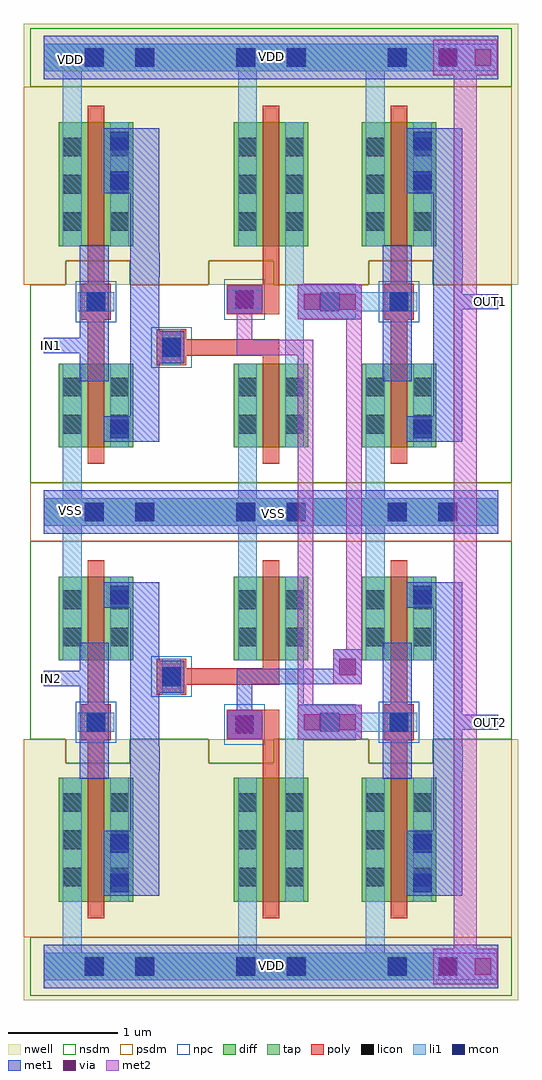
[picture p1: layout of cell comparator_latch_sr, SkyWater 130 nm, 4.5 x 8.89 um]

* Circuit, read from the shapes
.subckt comparator_latch_sr IN1 IN2 OUT1 OUT2 VDD VSS
XM1 INVX1_UPD_4/Y IN2 VSS VSS sky130_fd_pr__nfet_01v8 w=0.76 l=0.15
XM2 INVX1_UPD_5/Y IN1 VSS VSS sky130_fd_pr__nfet_01v8 w=0.76 l=0.15
XM3 INVX1_UPD_2/A INVX1_UPD_4/Y VSS VSS sky130_fd_pr__nfet_01v8 w=0.76 l=0.15
XM4 INVX1_UPD_3/A INVX1_UPD_5/Y VSS VSS sky130_fd_pr__nfet_01v8 w=0.76 l=0.15
XM5 OUT2 INVX1_UPD_2/A VSS VSS sky130_fd_pr__nfet_01v8 w=0.76 l=0.15
XM6 OUT1 INVX1_UPD_3/A VSS VSS sky130_fd_pr__nfet_01v8 w=0.76 l=0.15
XM7 INVX1_UPD_4/Y IN2 VDD VDD sky130_fd_pr__pfet_01v8 w=1.13 l=0.15
XM8 INVX1_UPD_5/Y IN1 VDD VDD sky130_fd_pr__pfet_01v8 w=1.13 l=0.15
XM9 INVX1_UPD_2/A INVX1_UPD_3/A VDD VDD sky130_fd_pr__pfet_01v8 w=1.13 l=0.15
XM10 INVX1_UPD_3/A INVX1_UPD_2/A VDD VDD sky130_fd_pr__pfet_01v8 w=1.13 l=0.15
XM11 OUT2 INVX1_UPD_2/A VDD VDD sky130_fd_pr__pfet_01v8 w=1.13 l=0.15
XM12 OUT1 INVX1_UPD_3/A VDD VDD sky130_fd_pr__pfet_01v8 w=1.13 l=0.15
.ends

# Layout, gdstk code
import gdstk
lib = gdstk.Library(unit=1e-6, precision=1e-09)
def R(c, l, rs):  # rectangles x0, y0, x1, y1
    for r in rs: c.add(gdstk.rectangle(r[:2], r[2:], *l))
def A(c, l, x, y, w, h, nx, ny, dx, dy):  # array of equal rectangles
    R(c, l, [(x+i*dx, y+j*dy, x+i*dx+w, y+j*dy+h) for i in range(nx) for j in range(ny)])
def P(c, l, *ps):  # polygons
    for p in ps: c.add(gdstk.Polygon(p, *l))
nwell = (64, 20)
diff = (65, 20)
tap = (65, 44)
poly = (66, 20)
licon = (66, 44)
li1 = (67, 20)
mcon = (67, 44)
met1 = (68, 20)
via = (68, 44)
met2 = (69, 20)
nsdm = (93, 44)
psdm = (94, 20)
npc = (95, 20)

nfet_01v8_cdns_788522546 = lib.new_cell('nfet_01v8_CDNS_7885225464227')
R(nfet_01v8_cdns_788522546, diff, [(-0.265,0,0,0.76), (0,0,0.15,0.76), (0.15,0,0.415,0.76)])
R(nfet_01v8_cdns_788522546, poly, [(0,-0.15,0.15,-0.095), (0,-0.095,0.15,0), (0,0,0.15,0.76), (0,0.76,0.15,0.855), (0,0.855,0.15,0.91)])
R(nfet_01v8_cdns_788522546, licon, [(-0.225,0.125,-0.055,0.295), (0.205,0.125,0.375,0.295), (-0.225,0.465,-0.055,0.635), (0.205,0.465,0.375,0.635)])
R(nfet_01v8_cdns_788522546, li1, [(-0.225,0,-0.055,0.76), (0.205,0,0.375,0.76)])
R(nfet_01v8_cdns_788522546, nsdm, [(-0.405,-0.13,0.555,0.89)])

invx1_upd = lib.new_cell('INVX1_UPD')
R(invx1_upd, nwell, [(-0.18,2.07,1.56,4.445)])
R(invx1_upd, diff, [(0.135,0.59,0.815,1.35), (0.135,2.42,0.815,3.55)])
R(invx1_upd, poly, [(0.4,0.44,0.55,3.7), (0.34,1.75,0.61,2.08)])
A(invx1_upd, licon, 0.175, 2.56, 0.17, 0.17, 1, 3, 0, 0.34)
A(invx1_upd, licon, 0.605, 2.56, 0.17, 0.17, 1, 3, 0, 0.34)
R(invx1_upd, licon, [(0.375,-0.085,0.545,0.085), (0.835,-0.085,1.005,0.085), (0.175,0.715,0.345,0.885), (0.605,0.715,0.775,0.885), (0.175,1.055,0.345,1.225), (0.605,1.055,0.775,1.225), (0.39,1.83,0.56,2), (0.375,4.055,0.545,4.225), (0.835,4.055,1.005,4.225)])
R(invx1_upd, li1, [(0.605,0.59,0.775,1.35), (0.605,0.59,0.775,0.92), (0.31,1.83,0.64,2), (0.605,2.42,0.775,3.55), (0.605,2.855,0.775,3.545)])
P(invx1_upd, li1, [(1.38,0.125),(0.345,0.125),(0.345,1.35),(0.175,1.35),(0.175,0.125),(0,0.125),(0,-0.125),(1.38,-0.125)],
  [(1.38,4.265),(0,4.265),(0,4.015),(0.175,4.015),(0.175,2.42),(0.345,2.42),(0.345,4.015),(1.38,4.015)])
R(invx1_upd, mcon, [(0.375,-0.085,0.545,0.085), (0.835,-0.085,1.005,0.085), (0.605,0.67,0.775,0.84), (0.39,1.83,0.56,2), (0.605,2.935,0.775,3.105), (0.605,3.295,0.775,3.465), (0.375,4.055,0.545,4.225), (0.835,4.055,1.005,4.225)])
R(invx1_upd, met1, [(0,-0.2,1.38,0.2), (0.545,0.64,0.835,0.87), (0.33,1.19,0.59,2.43), (0.36,1.77,0.59,2.06), (0.79,2.14,1.055,2.36), (0.545,2.905,0.835,3.495), (0,3.94,1.38,4.34)])
R(invx1_upd, nsdm, [(-0.125,3.875,1.505,4.405)])
P(invx1_upd, nsdm, [(1.505,2.07),(0.79,2.07),(0.79,2.29),(0.2,2.29),(0.2,2.07),(-0.125,2.07),(-0.125,0.265),(1.505,0.265)])
R(invx1_upd, psdm, [(-0.125,-0.265,1.505,0.265)])
P(invx1_upd, psdm, [(1.505,3.875),(-0.125,3.875),(-0.125,2.07),(0.2,2.07),(0.2,2.29),(0.79,2.29),(0.79,2.07),(1.505,2.07)])
R(invx1_upd, npc, [(0.29,1.73,0.66,2.1)])
invx1_upd.add(gdstk.FlexPath([(0,0),(1.38,0)], 0.25, ends="flush", simple_path=True, layer=65, datatype=44))  # tap
invx1_upd.add(gdstk.FlexPath([(0,4.14),(1.38,4.14)], 0.25, ends="flush", simple_path=True, layer=65, datatype=44))  # tap
invx1_upd.add(gdstk.FlexPath([(0.46,2.43),(0.46,1.19)], 0.26, ends="flush", simple_path=True, layer=68, datatype=20))  # met1
invx1_upd.add(gdstk.FlexPath([(0.92,0.64),(0.92,3.495)], 0.26, ends="flush", simple_path=True, layer=68, datatype=20))  # met1
invx1_upd.add(gdstk.Label('VDD', (0.695,4.145), layer=68, texttype=5))
invx1_upd.add(gdstk.Label('Y', (0.92,2.25), layer=68, texttype=5))
invx1_upd.add(gdstk.Label('VSS', (0.715,-0.01), layer=68, texttype=5))
invx1_upd.add(gdstk.Label('A', (0.46,1.715), layer=68, texttype=5))

pfet_01v8_cdns_788522546 = lib.new_cell('pfet_01v8_CDNS_7885225464228')
R(pfet_01v8_cdns_788522546, nwell, [(-0.445,-0.18,0.595,1.31)])
R(pfet_01v8_cdns_788522546, diff, [(-0.265,0,0,1.13), (0,0,0.15,1.13), (0.15,0,0.415,1.13)])
R(pfet_01v8_cdns_788522546, poly, [(0,-0.15,0.15,-0.095), (0,-0.095,0.15,0), (0,0,0.15,1.13), (0,1.13,0.15,1.225), (0,1.225,0.15,1.28)])
A(pfet_01v8_cdns_788522546, licon, -0.225, 0.14, 0.17, 0.17, 1, 3, 0, 0.34)
A(pfet_01v8_cdns_788522546, licon, 0.205, 0.14, 0.17, 0.17, 1, 3, 0, 0.34)
R(pfet_01v8_cdns_788522546, li1, [(-0.225,0,-0.055,1.13), (0.205,0,0.375,1.13)])
R(pfet_01v8_cdns_788522546, psdm, [(-0.405,-0.13,0.555,1.26)])

comparator_latch_sr = lib.new_cell('comparator_latch_sr')
R(comparator_latch_sr, nwell, [(1.685,-0.045,2.705,2.33), (1.685,6.47,2.705,8.845)])
R(comparator_latch_sr, poly, [(1.79,2.33,2.12,2.6), (1.155,2.735,1.425,3.065), (1.155,5.735,1.425,6.065), (1.79,6.2,2.12,6.47)])
A(comparator_latch_sr, licon, 1.88, 0.175, 0.17, 0.17, 1, 3, 0, 4.14)
A(comparator_latch_sr, licon, 2.34, 0.175, 0.17, 0.17, 1, 3, 0, 4.14)
R(comparator_latch_sr, licon, [(1.87,2.38,2.04,2.55), (1.205,2.815,1.375,2.985), (1.205,5.815,1.375,5.985), (1.87,6.25,2.04,6.42)])
R(comparator_latch_sr, li1, [(2.495,2.32,2.965,2.65), (1.79,2.38,2.12,2.55), (1.205,2.735,1.375,3.065), (1.205,5.735,1.375,6.065), (2.495,6.15,2.965,6.48), (1.79,6.25,2.12,6.42)])
A(comparator_latch_sr, mcon, 1.88, 0.175, 0.17, 0.17, 1, 3, 0, 4.14)
A(comparator_latch_sr, mcon, 2.34, 0.175, 0.17, 0.17, 1, 3, 0, 4.14)
R(comparator_latch_sr, mcon, [(1.87,2.38,2.04,2.55), (2.645,2.4,2.815,2.57), (1.205,2.815,1.375,2.985), (1.205,5.815,1.375,5.985), (2.645,6.23,2.815,6.4), (1.87,6.25,2.04,6.42)])
A(comparator_latch_sr, met1, 1.505, 0.06, 1.38, 0.4, 1, 3, 0, 4.14)
R(comparator_latch_sr, met1, [(3.675,0.1,4.255,0.42), (2.44,2.325,3.02,2.645), (2.44,2.325,3.02,2.645), (1.795,2.335,2.115,2.595), (1.795,2.335,2.115,2.595), (4.125,2.415,4.265,2.555), (1.175,2.755,1.405,3.045), (0.125,2.815,0.265,2.955), (2.76,2.83,3.02,3.15), (0.3,4.345,0.44,4.485), (1.175,5.755,1.405,6.045), (0.125,5.845,0.265,5.985), (2.44,6.155,3.02,6.475), (2.44,6.155,3.02,6.475), (1.795,6.205,2.115,6.465), (1.795,6.205,2.115,6.465), (4.125,6.245,4.265,6.385), (3.675,8.38,4.255,8.7), (0.3,8.455,0.44,8.595)])
R(comparator_latch_sr, via, [(3.73,0.185,3.88,0.335), (4.05,0.185,4.2,0.335), (1.88,2.39,2.03,2.54), (2.495,2.41,2.645,2.56), (2.815,2.41,2.965,2.56), (2.815,2.915,2.965,3.065), (2.495,6.24,2.645,6.39), (2.815,6.24,2.965,6.39), (1.88,6.26,2.03,6.41), (3.73,8.465,3.88,8.615), (4.05,8.465,4.2,8.615)])
R(comparator_latch_sr, met2, [(3.675,0.1,4.255,0.42), (2.44,2.325,3.02,2.645), (1.795,2.335,2.115,2.595), (2.76,2.83,3.02,3.15), (2.44,6.155,3.02,6.475), (1.795,6.205,2.115,6.465), (3.675,8.38,4.255,8.7)])
R(comparator_latch_sr, nsdm, [(1.38,-0.005,3.01,0.525), (1.6,-0.005,2.73,0.525), (1.63,-0.005,2.76,0.525), (1.63,2.11,2.22,2.33), (1.63,2.33,2.76,4.135), (1.63,4.665,2.76,6.47), (1.63,6.47,2.22,6.69), (1.38,8.275,3.01,8.805), (1.6,8.275,2.73,8.805)])
R(comparator_latch_sr, psdm, [(-0.055,0.525,0,2.33), (1.63,0.525,2.76,2.11), (2.22,2.11,2.76,2.33), (1.38,4.135,3.01,4.665), (-0.055,6.47,0,8.275), (2.22,6.47,2.76,6.69), (1.63,6.69,2.76,8.275)])
R(comparator_latch_sr, npc, [(1.77,2.28,2.14,2.65), (1.105,2.715,1.475,3.085), (1.105,5.715,1.475,6.085), (1.77,6.15,2.14,6.52)])
comparator_latch_sr.add(gdstk.FlexPath([(2.195,6.67),(2.195,6.2)], 0.15, ends="flush", simple_path=True, layer=66, datatype=20))  # poly
comparator_latch_sr.add(gdstk.FlexPath([(2.195,2.13),(2.195,2.6)], 0.15, ends="flush", simple_path=True, layer=66, datatype=20))  # poly
comparator_latch_sr.add(gdstk.FlexPath([(1.29,2.9),(1.29,2.885)], 0.15, ends=(0.075, 0), simple_path=True, layer=66, datatype=20))  # poly
comparator_latch_sr.add(gdstk.FlexPath([(2.195,2.9),(1.29,2.9)], 0.15, ends="extended", simple_path=True, layer=66, datatype=20))  # poly
comparator_latch_sr.add(gdstk.FlexPath([(2.195,5.9),(1.29,5.9)], 0.15, ends=(0.075, 0), simple_path=True, layer=66, datatype=20))  # poly
comparator_latch_sr.add(gdstk.FlexPath([(2.41,6.82),(2.41,6.315)], 0.17, ends=(0, 0.085), simple_path=True, layer=67, datatype=20))  # li1
comparator_latch_sr.add(gdstk.FlexPath([(3.36,6.315),(2.41,6.315)], 0.17, ends=(0, 0.085), simple_path=True, layer=67, datatype=20))  # li1
comparator_latch_sr.add(gdstk.FlexPath([(2.41,1.98),(2.41,2.485)], 0.17, ends=(0, 0.085), simple_path=True, layer=67, datatype=20))  # li1
comparator_latch_sr.add(gdstk.FlexPath([(3.36,2.485),(2.41,2.485)], 0.17, ends=(0, 0.085), simple_path=True, layer=67, datatype=20))  # li1
comparator_latch_sr.add(gdstk.FlexPath([(2.41,6.315),(2.41,5.75)], 0.17, ends=(0.085, 0), simple_path=True, layer=67, datatype=20))  # li1
comparator_latch_sr.add(gdstk.FlexPath([(2.41,2.485),(2.41,3.05)], 0.17, ends=(0.085, 0), simple_path=True, layer=67, datatype=20))  # li1
comparator_latch_sr.add(gdstk.FlexPath([(1.505,0.26),(1.98,0.26)], 0.25, ends=(0, 0.085), simple_path=True, layer=67, datatype=20))  # li1
comparator_latch_sr.add(gdstk.FlexPath([(1.98,0.92),(1.98,0.26)], 0.17, ends=(0, 0.125), simple_path=True, layer=67, datatype=20))  # li1
comparator_latch_sr.add(gdstk.FlexPath([(1.98,3.665),(1.98,4.4)], 0.17, ends=(0, 0.125), simple_path=True, layer=67, datatype=20))  # li1
comparator_latch_sr.add(gdstk.FlexPath([(1.505,4.4),(1.98,4.4)], 0.25, ends=(0, 0.085), simple_path=True, layer=67, datatype=20))  # li1
comparator_latch_sr.add(gdstk.FlexPath([(1.98,5.03),(1.98,4.4)], 0.17, ends=(0, 0.125), simple_path=True, layer=67, datatype=20))  # li1
comparator_latch_sr.add(gdstk.FlexPath([(1.505,8.54),(1.98,8.54)], 0.25, ends=(0, 0.085), simple_path=True, layer=67, datatype=20))  # li1
comparator_latch_sr.add(gdstk.FlexPath([(1.98,7.95),(1.98,8.54)], 0.17, ends=(0, 0.125), simple_path=True, layer=67, datatype=20))  # li1
comparator_latch_sr.add(gdstk.FlexPath([(1.98,0.26),(2.885,0.26)], 0.25, ends=(0.085, 0), simple_path=True, layer=67, datatype=20))  # li1
comparator_latch_sr.add(gdstk.FlexPath([(1.98,4.4),(2.885,4.4)], 0.25, ends=(0.085, 0), simple_path=True, layer=67, datatype=20))  # li1
comparator_latch_sr.add(gdstk.FlexPath([(1.98,8.54),(2.885,8.54)], 0.25, ends=(0.085, 0), simple_path=True, layer=67, datatype=20))  # li1
comparator_latch_sr.add(gdstk.FlexPath([(1.505,0.26),(2.885,0.26)], 0.25, ends="flush", simple_path=True, layer=65, datatype=44))  # tap
comparator_latch_sr.add(gdstk.FlexPath([(1.505,8.54),(2.885,8.54)], 0.25, ends="flush", simple_path=True, layer=65, datatype=44))  # tap
comparator_latch_sr.add(gdstk.FlexPath([(1.505,4.4),(2.885,4.4)], 0.25, ends="flush", simple_path=True, layer=65, datatype=44))  # tap
comparator_latch_sr.add(gdstk.FlexPath([(0.265,2.885),(0.455,2.885)], 0.14, ends="flush", simple_path=True, layer=68, datatype=20))  # met1
comparator_latch_sr.add(gdstk.FlexPath([(0.265,5.915),(0.455,5.915)], 0.14, ends="flush", simple_path=True, layer=68, datatype=20))  # met1
comparator_latch_sr.add(gdstk.FlexPath([(4.125,6.315),(3.805,6.315)], 0.14, ends="flush", simple_path=True, layer=68, datatype=20))  # met1
comparator_latch_sr.add(gdstk.FlexPath([(4.125,2.485),(3.805,2.485)], 0.14, ends="flush", simple_path=True, layer=68, datatype=20))  # met1
comparator_latch_sr.add(gdstk.FlexPath([(1.955,2.9),(1.955,2.465)], 0.14, ends=(0.07, 0), simple_path=True, layer=68, datatype=20))  # met1
comparator_latch_sr.add(gdstk.FlexPath([(2.955,2.9),(1.955,2.9)], 0.14, ends=(0, 0.07), simple_path=True, layer=68, datatype=20))  # met1
comparator_latch_sr.add(gdstk.FlexPath([(1.505,0.26),(2.885,0.26)], 0.4, ends="flush", simple_path=True, layer=68, datatype=20))  # met1
comparator_latch_sr.add(gdstk.FlexPath([(3.94,0.26),(3.965,0.26)], 0.21, ends=(0, 0.105), simple_path=True, layer=69, datatype=20))  # met2
comparator_latch_sr.add(gdstk.FlexPath([(3.965,0.26),(3.965,8.54)], 0.21, ends=(0.105, 0.16), simple_path=True, layer=69, datatype=20))  # met2
comparator_latch_sr.add(gdstk.FlexPath([(3.965,8.54),(3.99,8.54)], 0.32, ends=(0.105, 0.105), simple_path=True, layer=69, datatype=20))  # met2
comparator_latch_sr.add(gdstk.FlexPath([(2.95,2.9),(2.95,6.315)], 0.14, ends=(0, 0.16), simple_path=True, layer=69, datatype=20))  # met2
comparator_latch_sr.add(gdstk.FlexPath([(2.95,6.315),(2.73,6.315)], 0.32, ends=(0.07, 0), simple_path=True, layer=69, datatype=20))  # met2
comparator_latch_sr.add(gdstk.FlexPath([(1.955,6.335),(1.955,5.9)], 0.14, ends=(0, 0.07), simple_path=True, layer=69, datatype=20))  # met2
comparator_latch_sr.add(gdstk.FlexPath([(1.955,5.9),(2.51,5.9)], 0.14, ends="extended", simple_path=True, layer=69, datatype=20))  # met2
comparator_latch_sr.add(gdstk.FlexPath([(2.51,5.9),(2.51,2.485)], 0.14, ends=(0.07, 0.16), simple_path=True, layer=69, datatype=20))  # met2
comparator_latch_sr.add(gdstk.FlexPath([(2.51,2.485),(2.73,2.485)], 0.32, ends=(0.07, 0), simple_path=True, layer=69, datatype=20))  # met2
comparator_latch_sr.add(gdstk.Reference(nfet_01v8_cdns_788522546, (2.12,3.05)))
comparator_latch_sr.add(gdstk.Reference(nfet_01v8_cdns_788522546, (2.12,4.99)))
comparator_latch_sr.add(gdstk.Reference(invx1_upd, (2.885,4.4), x_reflection=True))
comparator_latch_sr.add(gdstk.Reference(invx1_upd, (2.885,4.4)))
comparator_latch_sr.add(gdstk.Reference(invx1_upd, (0.125,4.4), x_reflection=True))
comparator_latch_sr.add(gdstk.Reference(invx1_upd, (0.125,4.4)))
comparator_latch_sr.add(gdstk.Reference(pfet_01v8_cdns_788522546, (2.12,6.82)))
comparator_latch_sr.add(gdstk.Reference(pfet_01v8_cdns_788522546, (2.12,0.85)))
comparator_latch_sr.add(gdstk.Label('VSS', (2.22,4.39), layer=68, texttype=5))
comparator_latch_sr.add(gdstk.Label('VDD', (2.2,0.265), layer=68, texttype=5))
comparator_latch_sr.add(gdstk.Label('VDD', (2.2,8.545), layer=68, texttype=5))
comparator_latch_sr.add(gdstk.Label('OUT2', (4.195,2.485), layer=68, texttype=5))
comparator_latch_sr.add(gdstk.Label('OUT1', (4.195,6.315), layer=68, texttype=5))
comparator_latch_sr.add(gdstk.Label('IN2', (0.195,2.885), layer=68, texttype=5))
comparator_latch_sr.add(gdstk.Label('IN1', (0.195,5.915), layer=68, texttype=5))
comparator_latch_sr.add(gdstk.Label('VSS', (0.37,4.415), layer=68, texttype=5))
comparator_latch_sr.add(gdstk.Label('VDD', (0.37,8.525), layer=68, texttype=5))

lib.write_gds('comparator_latch_sr.gds')
